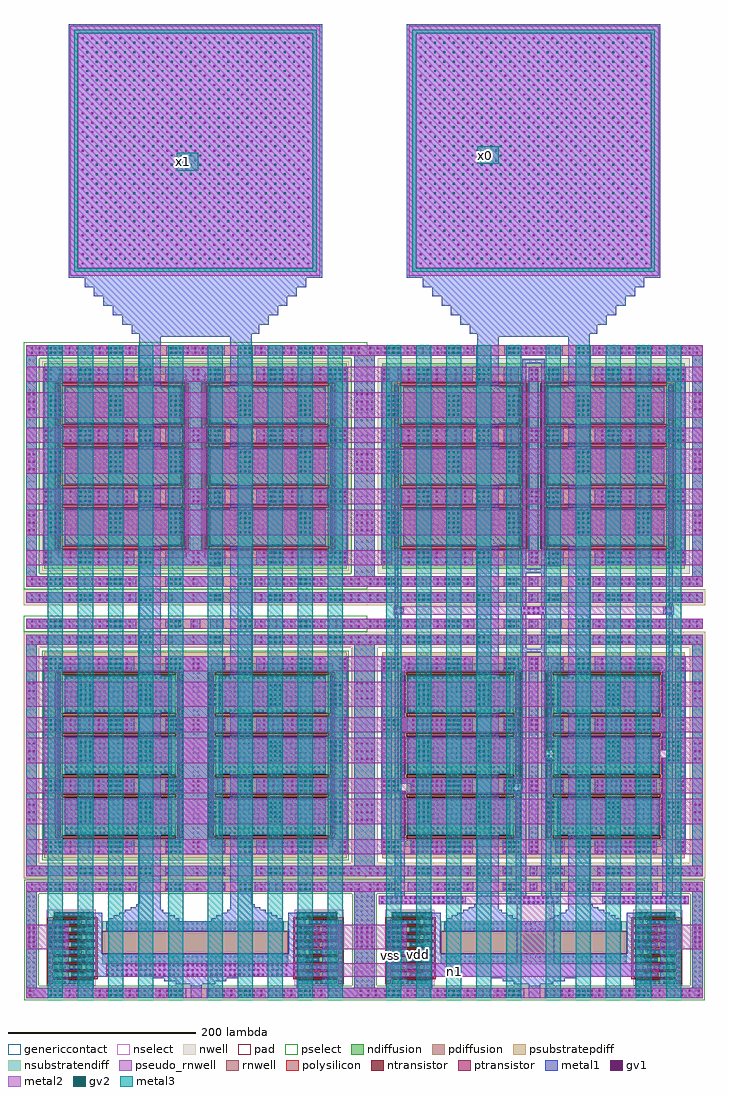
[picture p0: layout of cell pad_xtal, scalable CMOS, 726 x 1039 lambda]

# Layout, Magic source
magic
tech scmos
<< metal1 >>
rect 74 11 268 25
<< metal2 >>
rect 511 25 551 96
rect 74 11 662 25
<< gv1 >>
rect 75 22 77 24
rect 80 22 82 24
rect 85 22 87 24
rect 90 22 92 24
rect 95 22 97 24
rect 100 22 102 24
rect 105 22 107 24
rect 110 22 112 24
rect 115 22 117 24
rect 120 22 122 24
rect 125 22 127 24
rect 130 22 132 24
rect 135 22 137 24
rect 140 22 142 24
rect 145 22 147 24
rect 150 22 152 24
rect 155 22 157 24
rect 160 22 162 24
rect 165 22 167 24
rect 170 22 172 24
rect 175 22 177 24
rect 180 22 182 24
rect 185 22 187 24
rect 190 22 192 24
rect 195 22 197 24
rect 200 22 202 24
rect 205 22 207 24
rect 210 22 212 24
rect 215 22 217 24
rect 220 22 222 24
rect 225 22 227 24
rect 230 22 232 24
rect 235 22 237 24
rect 240 22 242 24
rect 245 22 247 24
rect 250 22 252 24
rect 255 22 257 24
rect 260 22 262 24
rect 265 22 267 24
rect 75 17 77 19
rect 80 17 82 19
rect 85 17 87 19
rect 90 17 92 19
rect 95 17 97 19
rect 100 17 102 19
rect 105 17 107 19
rect 110 17 112 19
rect 115 17 117 19
rect 120 17 122 19
rect 125 17 127 19
rect 130 17 132 19
rect 135 17 137 19
rect 140 17 142 19
rect 145 17 147 19
rect 150 17 152 19
rect 155 17 157 19
rect 160 17 162 19
rect 165 17 167 19
rect 170 17 172 19
rect 175 17 177 19
rect 180 17 182 19
rect 185 17 187 19
rect 190 17 192 19
rect 195 17 197 19
rect 200 17 202 19
rect 205 17 207 19
rect 210 17 212 19
rect 215 17 217 19
rect 220 17 222 19
rect 225 17 227 19
rect 230 17 232 19
rect 235 17 237 19
rect 240 17 242 19
rect 245 17 247 19
rect 250 17 252 19
rect 255 17 257 19
rect 260 17 262 19
rect 265 17 267 19
rect 75 12 77 14
rect 80 12 82 14
rect 85 12 87 14
rect 90 12 92 14
rect 95 12 97 14
rect 100 12 102 14
rect 105 12 107 14
rect 110 12 112 14
rect 115 12 117 14
rect 120 12 122 14
rect 125 12 127 14
rect 130 12 132 14
rect 135 12 137 14
rect 140 12 142 14
rect 145 12 147 14
rect 150 12 152 14
rect 155 12 157 14
rect 160 12 162 14
rect 165 12 167 14
rect 170 12 172 14
rect 175 12 177 14
rect 180 12 182 14
rect 185 12 187 14
rect 190 12 192 14
rect 195 12 197 14
rect 200 12 202 14
rect 205 12 207 14
rect 210 12 212 14
rect 215 12 217 14
rect 220 12 222 14
rect 225 12 227 14
rect 230 12 232 14
rect 235 12 237 14
rect 240 12 242 14
rect 245 12 247 14
rect 250 12 252 14
rect 255 12 257 14
rect 260 12 262 14
rect 265 12 267 14
<< metal3 >>
rect 149 869 172 888
rect 469 876 492 895
use pad_in_top  pad_in_top_0
transform 1 0 -11 0 1 -12
box -3 -2 363 1037
use pad_x0_top  pad_x0_top_0
transform 1 0 349 0 1 -12
box -3 -2 363 1037
<< labels >>
rlabel metal3 s 478 885 478 885 2 x0
port 1 ne
rlabel metal3 s 156 879 156 879 2 x1
port 2 ne
rlabel metal2 s 445 16 445 16 2 n1
rlabel metal3 s 407 34 407 34 2 vdd
port 3 ne
rlabel metal3 s 377 33 377 33 2 vss
port 4 ne
<< end >>

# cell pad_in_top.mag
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
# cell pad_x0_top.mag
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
